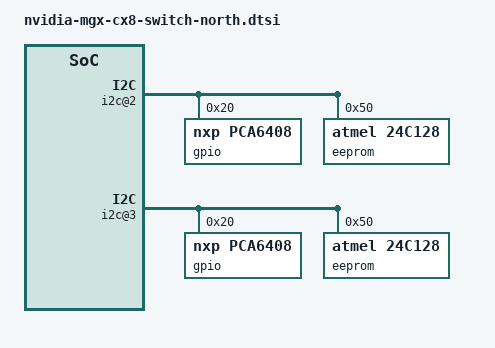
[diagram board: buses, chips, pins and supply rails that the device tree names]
// SPDX-License-Identifier: GPL-2.0-or-later

eeprom@56 {
	compatible = "atmel,24c128";
	reg = <0x56>;
};

gpio@26 {
	compatible = "nxp,pca9555";
	reg = <0x26>;
	gpio-controller;
	#gpio-cells = <2>;
	gpio-line-names = "WP_QSPI_CX0", "RST_SEQ_CX0_L",
			  "BOOT_COMPLT_CX0", "FNP_CX0_L",
			  "WP_FRU_CX0", "OVT_SHUTDOWN_CX0",
			  "", "",
			  "", "",
			  "TMP_WARNING_CX0", "USB_HUB1_RST_L",
			  "I2C_SWITCH1_RESET", "MCU1_GPIO",
			  "MCU1_RST_N", "MCU1_RECOVERY_N";

};

i2c-mux@72 {
	compatible = "nxp,pca9546";
	reg = <0x72>;
	i2c-mux-idle-disconnect;
	#address-cells = <1>;
	#size-cells = <0>;

	i2c@0 {
		#address-cells = <1>;
		#size-cells = <0>;
		reg = <0>;
	};
	i2c@1 {
		#address-cells = <1>;
		#size-cells = <0>;
		reg = <1>;
	};
	i2c@2 {
		#address-cells = <1>;
		#size-cells = <0>;
		reg = <2>;
		gpio@20 {
			reg = <0x20>;
			gpio-controller;
			compatible = "nxp,pca6408";
			#gpio-cells = <2>;
			gpio-line-names = "GLOBAL_WP", "OOB_RST_N",
					  "OOB_RECOVERY", "MCU_RECOVERY_N",
					  "MCU_RST_N", "MCU_BYPASS_N",
					  "SMBUS_FRU_EEPROM_WP", "";
		};
		eeprom@50 {
			reg = <0x50>;
			compatible = "atmel,24c128";
		};
	};
	i2c@3 {
		#address-cells = <1>;
		#size-cells = <0>;
		reg = <3>;
		gpio@20 {
			reg = <0x20>;
			gpio-controller;
			compatible = "nxp,pca6408";
			#gpio-cells = <2>;
			gpio-line-names = "GLOBAL_WP", "OOB_RST_N",
					  "OOB_RECOVERY", "MCU_RECOVERY_N",
					  "MCU_RST_N", "MCU_BYPASS_N",
					  "SMBUS_FRU_EEPROM_WP", "";
		};
		eeprom@50 {
			reg = <0x50>;
			compatible = "atmel,24c128";
		};
	};
};

